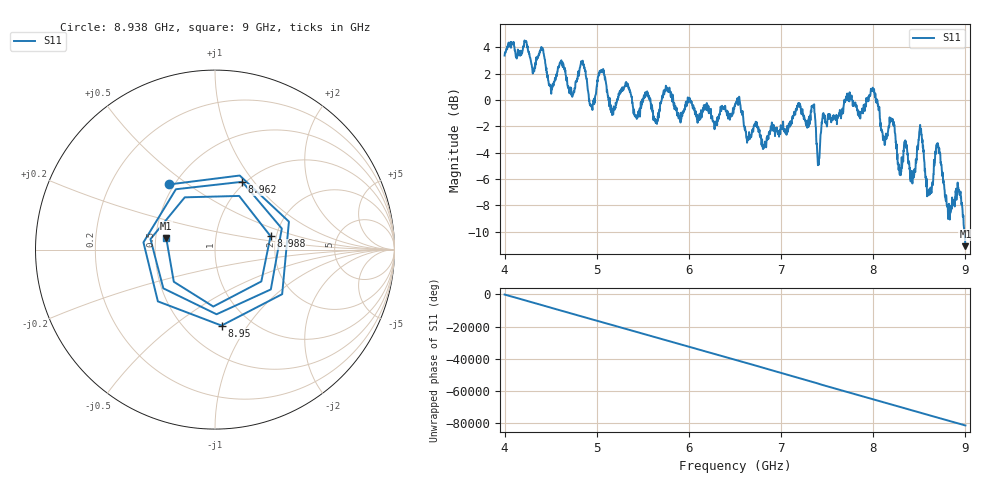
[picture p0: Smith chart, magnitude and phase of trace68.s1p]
! Created with skrf 1.8.0 (http://scikit-rf.org).
# Hz S RI R 50.0
!freq ReS11 ImS11
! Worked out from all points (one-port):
!   1601 points, 4 GHz to 9 GHz, reference 50 ohm
!   lowest |S11| = -11.1 dB at 9 GHz (marker M1), VSWR 1.77, Z = 28.5 + j3.88 ohm
!   |S11| at or under -10 dB: 8.989207 GHz to 8.993142 GHz (3.935 MHz wide, 0.0438 % of centre); 8.994133 GHz to end of sweep
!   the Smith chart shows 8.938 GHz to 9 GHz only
!   S11 on the Smith chart (normalised r, x): 8.938 GHz: 0.47, +0.42; 8.95 GHz: 0.74, -0.76; 8.962 GHz: 0.97, +0.88; 8.988 GHz: 1.86, +0.31; 9 GHz: 0.57, +0.08
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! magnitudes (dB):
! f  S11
! 4 GHz  3.4
! 4.625 GHz  2.8
! 4.728 GHz  0.4
! 4.853 GHz  2.6
! 4.941 GHz  -0.5
! 5.05 GHz  2.1
! 5.169 GHz  -1.0
! 5.25 GHz  0.7
! 5.875 GHz  -1.0
! 6.5 GHz  -0.5
! 6.812 GHz  -3.7
! 7.125 GHz  -1.2
! 7.347 GHz  -0.5
! 7.406 GHz  -4.8
! 7.75 GHz  0.1
! 8 GHz  0.8
! 8.109 GHz  -2.8
! 8.375 GHz  -4.1
! 8.431 GHz  -5.8
! 8.516 GHz  -2.2
! 8.606 GHz  -6.8
! 8.7 GHz  -3.3
! 8.819 GHz  -8.0
! 8.938 GHz  -7.0
! 8.95 GHz  -7.4
! 8.962 GHz  -7.8
! 8.988 GHz  -9.9
! 9 GHz  -11.1
